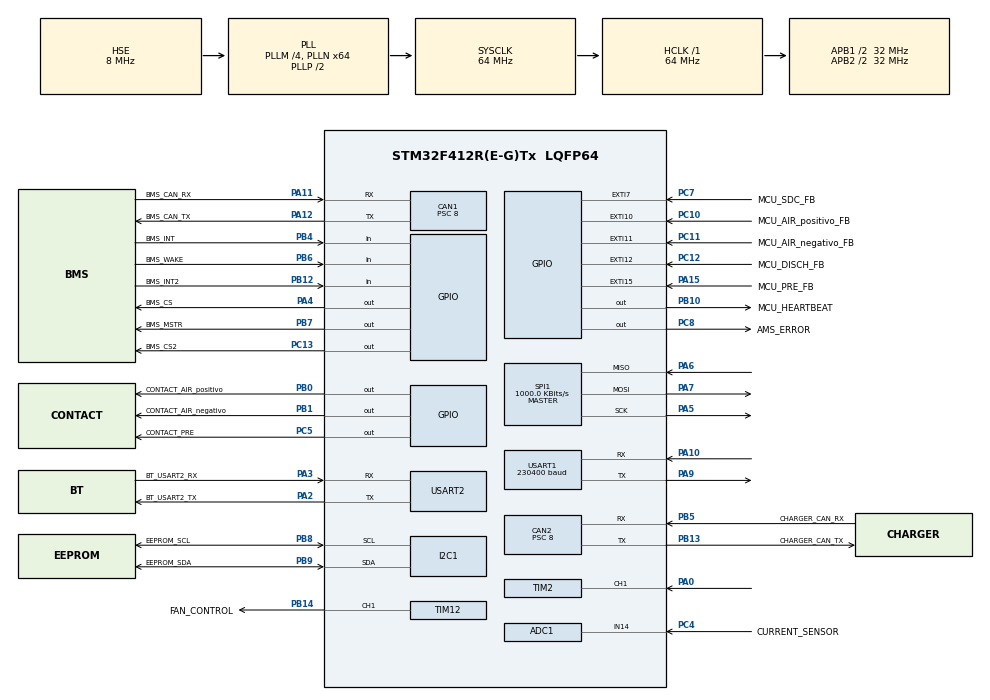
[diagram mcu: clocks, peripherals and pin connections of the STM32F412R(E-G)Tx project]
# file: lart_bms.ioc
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ADC1.Channel-1\#ChannelRegularConversion=ADC_CHANNEL_TEMPSENSOR
ADC1.Channel-2\#ChannelRegularConversion=ADC_CHANNEL_VREFINT
ADC1.Channel-4\#ChannelRegularConversion=ADC_CHANNEL_14
ADC1.ClockPrescaler=ADC_CLOCK_SYNC_PCLK_DIV8
ADC1.ContinuousConvMode=DISABLE
ADC1.DMAContinuousRequests=ENABLE
ADC1.EOCSelection=ADC_EOC_SEQ_CONV
ADC1.ExternalTrigConv=ADC_EXTERNALTRIGCONV_T3_TRGO
ADC1.InjNumberOfConversion=0
ADC1.NbrOfConversion=3
ADC1.NbrOfConversionFlag=1
ADC1.Rank-1\#ChannelRegularConversion=1
ADC1.Rank-2\#ChannelRegularConversion=2
ADC1.Rank-4\#ChannelRegularConversion=3
ADC1.Resolution=ADC_RESOLUTION_12B
ADC1.SamplingTime-1\#ChannelRegularConversion=ADC_SAMPLETIME_144CYCLES
ADC1.SamplingTime-2\#ChannelRegularConversion=ADC_SAMPLETIME_144CYCLES
ADC1.SamplingTime-4\#ChannelRegularConversion=ADC_SAMPLETIME_144CYCLES
ADC1.ScanConvMode=ENABLE
ADC1.master=1
CAN1.ABOM=ENABLE
CAN1.BS1=CAN_BS1_2TQ
CAN1.BS2=CAN_BS2_5TQ
CAN1.CalculateBaudRate=500000
CAN1.CalculateTimeBit=2000
CAN1.CalculateTimeQuantum=250.0
CAN1.Mode=CAN_MODE_NORMAL
CAN1.NART=ENABLE
CAN1.Prescaler=8
CAN1.TTCM=DISABLE
CAN2.ABOM=ENABLE
CAN2.BS1=CAN_BS1_2TQ
CAN2.BS2=CAN_BS2_5TQ
CAN2.CalculateBaudRate=500000
CAN2.CalculateTimeBit=2000
CAN2.CalculateTimeQuantum=250.0
CAN2.NART=ENABLE
CAN2.Prescaler=8
Dma.ADC1.2.Direction=DMA_PERIPH_TO_MEMORY
Dma.ADC1.2.FIFOMode=DMA_FIFOMODE_DISABLE
Dma.ADC1.2.Instance=DMA2_Stream0
Dma.ADC1.2.MemDataAlignment=DMA_MDATAALIGN_HALFWORD
Dma.ADC1.2.MemInc=DMA_MINC_ENABLE
Dma.ADC1.2.Mode=DMA_CIRCULAR
Dma.ADC1.2.PeriphDataAlignment=DMA_PDATAALIGN_HALFWORD
Dma.ADC1.2.PeriphInc=DMA_PINC_DISABLE
Dma.ADC1.2.Priority=DMA_PRIORITY_HIGH
Dma.Request0=USART1_TX
Dma.Request1=USART2_TX
Dma.Request2=ADC1
Dma.USART1_TX.0.Direction=DMA_MEMORY_TO_PERIPH
Dma.USART1_TX.0.FIFOMode=DMA_FIFOMODE_DISABLE
Dma.USART1_TX.0.Instance=DMA2_Stream7
Dma.USART1_TX.0.MemDataAlignment=DMA_MDATAALIGN_BYTE
Dma.USART1_TX.0.MemInc=DMA_MINC_ENABLE
Dma.USART1_TX.0.Mode=DMA_NORMAL
Dma.USART1_TX.0.PeriphDataAlignment=DMA_PDATAALIGN_BYTE
Dma.USART1_TX.0.PeriphInc=DMA_PINC_DISABLE
Dma.USART1_TX.0.Priority=DMA_PRIORITY_LOW
Dma.USART2_TX.1.Direction=DMA_MEMORY_TO_PERIPH
Dma.USART2_TX.1.FIFOMode=DMA_FIFOMODE_DISABLE
Dma.USART2_TX.1.Instance=DMA1_Stream6
Dma.USART2_TX.1.MemDataAlignment=DMA_MDATAALIGN_BYTE
Dma.USART2_TX.1.MemInc=DMA_MINC_ENABLE
Dma.USART2_TX.1.Mode=DMA_NORMAL
Dma.USART2_TX.1.PeriphDataAlignment=DMA_PDATAALIGN_BYTE
Dma.USART2_TX.1.PeriphInc=DMA_PINC_DISABLE
Dma.USART2_TX.1.Priority=DMA_PRIORITY_LOW
I2C1.I2C_Mode=I2C_Fast
Mcu.Family=STM32F4
Mcu.Name=STM32F412R(E-G)Tx
Mcu.Package=LQFP64
NVIC.ADC_IRQn=true\:0\:0\:false\:false\:true\:true\:true\:true
NVIC.CAN1_RX0_IRQn=true\:0\:0\:false\:false\:true\:true\:true\:true
NVIC.CAN2_RX0_IRQn=true\:0\:0\:false\:false\:true\:true\:true\:true
NVIC.DMA1_Stream6_IRQn=true\:0\:0\:false\:false\:true\:false\:true\:true
NVIC.DMA2_Stream0_IRQn=true\:0\:0\:false\:false\:true\:false\:true\:true
NVIC.DMA2_Stream7_IRQn=true\:0\:0\:false\:false\:true\:false\:true\:true
NVIC.EXTI15_10_IRQn=true\:0\:0\:false\:false\:true\:true\:true\:true
NVIC.PriorityGroup=NVIC_PRIORITYGROUP_4
NVIC.TIM2_IRQn=true\:0\:0\:false\:false\:true\:true\:true\:true
NVIC.TIM6_IRQn=true\:5\:0\:false\:false\:true\:true\:true\:true
NVIC.USART1_IRQn=true\:0\:0\:false\:false\:true\:true\:true\:true
NVIC.USART2_IRQn=true\:0\:0\:false\:false\:true\:true\:true\:true
PA0.Signal=S_TIM2_CH1_ETR
PA10.Mode=Asynchronous
PA10.Signal=USART1_RX
PA11.GPIO_Label=BMS_CAN_RX
PA11.GPIO_PuPd=GPIO_PULLUP
PA11.Mode=CAN_Activate
PA11.Signal=CAN1_RX
PA12.GPIO_Label=BMS_CAN_TX
PA12.Mode=CAN_Activate
PA12.Signal=CAN1_TX
PA13.Signal=SYS_JTMS-SWDIO
PA14.Signal=SYS_JTCK-SWCLK
PA15.GPIO_Label=MCU_PRE_FB
PA15.GPIO_ModeDefaultEXTI=GPIO_MODE_IT_RISING_FALLING
PA15.Signal=GPXTI15
PA2.GPIO_Label=BT_USART2_TX
PA2.Mode=Asynchronous
PA2.Signal=USART2_TX
PA3.GPIO_Label=BT_USART2_RX
PA3.Mode=Asynchronous
PA3.Signal=USART2_RX
PA4.GPIO_Label=BMS_CS
PA4.GPIO_Speed=GPIO_SPEED_FREQ_VERY_HIGH
PA4.Signal=GPIO_Output
PA5.Mode=Full_Duplex_Master
PA5.Signal=SPI1_SCK
PA6.Mode=Full_Duplex_Master
PA6.Signal=SPI1_MISO
PA7.Mode=Full_Duplex_Master
PA7.Signal=SPI1_MOSI
PA9.Mode=Asynchronous
PA9.Signal=USART1_TX
PB0.GPIO_Label=CONTACT_AIR_positivo
PB0.GPIO_PuPd=GPIO_PULLUP
PB0.PinState=GPIO_PIN_SET
PB0.Signal=GPIO_Output
PB1.GPIO_Label=CONTACT_AIR_negativo
PB1.GPIO_PuPd=GPIO_PULLUP
PB1.PinState=GPIO_PIN_SET
PB1.Signal=GPIO_Output
PB10.GPIO_Label=MCU_HEARTBEAT
PB10.Signal=GPIO_Output
PB12.GPIO_Label=BMS_INT2
PB12.Signal=GPIO_Input
PB13.GPIO_Label=CHARGER_CAN_TX
PB13.Mode=CAN_Activate
PB13.Signal=CAN2_TX
PB14.GPIO_Label=FAN_CONTROL
PB14.Signal=S_TIM12_CH1
PB4.GPIO_Label=BMS_INT
PB4.Signal=GPIO_Input
PB5.GPIO_Label=CHARGER_CAN_RX
PB5.Mode=CAN_Activate
PB5.Signal=CAN2_RX
PB6.GPIO_Label=BMS_WAKE
PB6.Signal=GPIO_Input
PB7.GPIO_Label=BMS_MSTR
PB7.Signal=GPIO_Output
PB8.GPIO_Label=EEPROM_SCL
PB8.Mode=I2C
PB8.Signal=I2C1_SCL
PB9.GPIO_Label=EEPROM_SDA
PB9.Mode=I2C
PB9.Signal=I2C1_SDA
PC10.GPIO_Label=MCU_AIR_positivo_FB
PC10.GPIO_ModeDefaultEXTI=GPIO_MODE_IT_RISING_FALLING
PC10.Signal=GPXTI10
PC11.GPIO_Label=MCU_AIR_negativo_FB
PC11.GPIO_ModeDefaultEXTI=GPIO_MODE_IT_RISING_FALLING
PC11.Signal=GPXTI11
PC12.GPIO_Label=MCU_DISCH_FB
PC12.GPIO_ModeDefaultEXTI=GPIO_MODE_IT_RISING_FALLING
PC12.Signal=GPXTI12
PC13.GPIO_Label=BMS_CS2
PC13.Signal=GPIO_Output
PC14-OSC32_IN.Signal=RCC_OSC32_IN
PC15-OSC32_OUT.Signal=RCC_OSC32_OUT
PC4.GPIO_Label=CURRENT_SENSOR
PC4.Signal=SharedAnalog_PC4
PC5.GPIO_Label=CONTACT_PRE
PC5.GPIO_PuPd=GPIO_PULLUP
PC5.PinState=GPIO_PIN_SET
PC5.Signal=GPIO_Output
PC7.GPIO_Label=MCU_SDC_FB
PC7.Signal=GPXTI7
PC8.GPIO_Label=AMS_ERROR
PC8.PinState=GPIO_PIN_SET
PC8.Signal=GPIO_Output
PH0\ -\ OSC_IN.Mode=HSE-External-Oscillator
PH0\ -\ OSC_IN.Signal=RCC_OSC_IN
PH1\ -\ OSC_OUT.Mode=HSE-External-Oscillator
PH1\ -\ OSC_OUT.Signal=RCC_OSC_OUT
ProjectManager.HeapSize=0x200
ProjectManager.StackSize=0x400
ProjectManager.TargetToolchain=STM32CubeIDE
RCC.AHBFreq_Value=64000000
RCC.APB1CLKDivider=RCC_HCLK_DIV2
RCC.APB1Freq_Value=32000000
RCC.APB1TimFreq_Value=64000000
RCC.APB2CLKDivider=RCC_HCLK_DIV2
RCC.APB2Freq_Value=32000000
RCC.APB2TimFreq_Value=64000000
RCC.CodegenConfigPeriph=true
RCC.CortexFreq_Value=64000000
RCC.HCLKFreq_Value=64000000
RCC.HSE_VALUE=8000000
RCC.LSE_Drive_CapabilityArg=+LSE_Drive_Capability
RCC.PLLI2SM=2
RCC.PLLI2SN=64
RCC.PLLI2SQ=12
RCC.PLLM=4
RCC.PLLN=64
RCC.PLLSourceVirtual=RCC_PLLSOURCE_HSE
RCC.SYSCLKFreq_VALUE=64000000
RCC.SYSCLKSource=RCC_SYSCLKSOURCE_PLLCLK
RCC.USBCLockSelection=RCC_CLK48CLKSOURCE_PLLI2SQ
RCC.USBFreq_Value=21333333.333333332
RCC.VCOOutputFreq_Value=128000000
SH.S_TIM12_CH1.0=TIM12_CH1,PWM Generation1 CH1
SH.S_TIM2_CH1_ETR.0=TIM2_CH1,Input_Capture1_from_TI1
SH.SharedAnalog_PC4.0=GPIO_Analog
SH.SharedAnalog_PC4.1=ADC1_IN14,IN14
SPI1.BaudRatePrescaler=SPI_BAUDRATEPRESCALER_32
SPI1.CLKPhase=SPI_PHASE_1EDGE
SPI1.CLKPolarity=SPI_POLARITY_LOW
SPI1.CalculateBaudRate=1000.0 KBits/s
SPI1.Direction=SPI_DIRECTION_2LINES
SPI1.Mode=SPI_MODE_MASTER
SPI1.VirtualType=VM_MASTER
TIM12.Channel-PWM\ Generation1\ CH1=TIM_CHANNEL_1
TIM12.Channel-PWM\ Generation2\ CH2=TIM_CHANNEL_2
TIM12.OCPolarity_1=TIM_OCPOLARITY_LOW
TIM2.Channel-Input_Capture1_from_TI1=TIM_CHANNEL_1
TIM2.Period=0xffffffff
TIM2.Prescaler=0
TIM3.AutoReloadPreload=TIM_AUTORELOAD_PRELOAD_ENABLE
TIM3.Period=65535
TIM3.TIM_MasterOutputTrigger=TIM_TRGO_UPDATE
TIM5.Period=0xffffffff
TIM5.Prescaler=64-1
TIM6.AutoReloadPreload=TIM_AUTORELOAD_PRELOAD_ENABLE
TIM6.Period=200-1
TIM6.Prescaler=64000-1
USART1.BaudRate=230400
USART1.VirtualMode=VM_ASYNC
USART2.VirtualMode=VM_ASYNC
VP_ADC1_TempSens_Input.Mode=IN-TempSens
VP_ADC1_Vref_Input.Mode=IN-Vrefint
VP_TIM2_VS_ClockSourceINT.Mode=Internal
VP_TIM3_VS_ClockSourceINT.Mode=Internal
VP_TIM5_VS_ClockSourceINT.Mode=Internal
VP_TIM6_VS_ClockSourceINT.Mode=Enable_Timer
VP_WWDG_VS_WWDG.Mode=WWDG_Activate
WWDG.Counter=127
WWDG.Prescaler=WWDG_PRESCALER_8
WWDG.Window=127
board=custom

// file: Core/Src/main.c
/* USER CODE BEGIN Header */
/**
 ******************************************************************************
 * @file           : main.c
 * @brief          : Main program body
 ******************************************************************************
 * @attention
 *
 * Copyright (c) 2025 STMicroelectronics.
 * All rights reserved.
 *
 * This software is licensed under terms that can be found in the LICENSE file
 * in the root directory of this software component.
 * If no LICENSE file comes with this software, it is provided AS-IS.
 *
 ******************************************************************************
 */
/* USER CODE END Header */
#include "main.h"

/* USER CODE BEGIN Includes */
#include "brain.h"
#include "boot_ctrl.h"

/* USER CODE END Includes */

ADC_HandleTypeDef hadc1;
DMA_HandleTypeDef hdma_adc1;

CAN_HandleTypeDef hcan1;
CAN_HandleTypeDef hcan2;

I2C_HandleTypeDef hi2c1;

SPI_HandleTypeDef hspi1;

TIM_HandleTypeDef htim2;
TIM_HandleTypeDef htim3;
TIM_HandleTypeDef htim5;
TIM_HandleTypeDef htim6;
TIM_HandleTypeDef htim12;

UART_HandleTypeDef huart1;
UART_HandleTypeDef huart2;
DMA_HandleTypeDef hdma_usart1_tx;
DMA_HandleTypeDef hdma_usart2_tx;

WWDG_HandleTypeDef hwwdg;

/* USER CODE BEGIN PV */
uint32_t watchdog_flag = 0;
/* USER CODE END PV */

void SystemClock_Config(void);
static void MX_GPIO_Init(void);
static void MX_DMA_Init(void);
static void MX_USART1_UART_Init(void);
static void MX_SPI1_Init(void);
static void MX_TIM2_Init(void);
static void MX_TIM5_Init(void);
static void MX_I2C1_Init(void);
static void MX_ADC1_Init(void);
static void MX_CAN2_Init(void);
static void MX_CAN1_Init(void);
static void MX_USART2_UART_Init(void);
static void MX_TIM12_Init(void);
static void MX_TIM3_Init(void);
static void MX_WWDG_Init(void);
static void MX_TIM6_Init(void);

/* USER CODE BEGIN 0 */
extern const uint32_t g_pfnVectors[];   // startup_stm32f412retx.s: 0x08010200 com o bootloader
/* USER CODE END 0 */

int main(void)
{

  /* USER CODE BEGIN 1 */
	/* a aplicacao arranca do bootloader CAN (0x08000000) e vive em 0x08010200:
	 * as interrupcoes usam a tabela de vetores daqui (o bootloader ja a pos,
	 * isto cobre um arranque direto pelo debugger) */
	SCB->VTOR = (uint32_t) g_pfnVectors;
	__DSB();
  /* USER CODE END 1 */

  /* MCU Configuration--------------------------------------------------------*/

  /* Reset of all peripherals, Initializes the Flash interface and the Systick. */
  HAL_Init();

  /* Configure the system clock */
  SystemClock_Config();

  /* USER CODE BEGIN SysInit */
	/* GAURDA O ESTADO ANTES DE DAR RESET E ANTES DE INICIALIZARO WATCHDOG
	 * (o bootloader guarda o RCC->CSR na RAM e limpa-o: vem de la) */
	watchdog_flag = BootCtrl_ResetFlags(RCC->CSR); //O RCC->CSR é um registo de 32 bits sem sinal, com int o bit 31 seria interpretado como sinal negativo
	__HAL_RCC_CLEAR_RESET_FLAGS();

	//matar o watchdog caso esteja em debug mode (o IWDG e o do bootloader nas imagens em teste)
	if (CoreDebug->DHCSR & CoreDebug_DHCSR_C_DEBUGEN_Msk) {
		DBGMCU->APB1FZ |= DBGMCU_APB1_FZ_DBG_WWDG_STOP | DBGMCU_APB1_FZ_DBG_IWDG_STOP;
	}
  /* USER CODE END SysInit */

  /* Initialize all configured peripherals */
  MX_GPIO_Init();
  MX_DMA_Init();
  MX_USART1_UART_Init();
  MX_SPI1_Init();
  MX_TIM2_Init();
  MX_TIM5_Init();
  MX_I2C1_Init();
  MX_ADC1_Init();
  MX_CAN2_Init();
  MX_CAN1_Init();
  MX_USART2_UART_Init();
  MX_TIM12_Init();
  MX_TIM3_Init();
  MX_WWDG_Init();
  MX_TIM6_Init();
  /* USER CODE BEGIN 2 */

	//If watchdgot triggered - ams erro be sent
	if (watchdog_flag & RCC_CSR_WWDGRSTF) { //Bitwise stetment, wow another world
		//HAL_GPIO_WritePin(AMS_ERROR_GPIO_Port, AMS_ERROR_Pin, GPIO_PIN_SET);
	}

	HAL_WWDG_Refresh(&hwwdg);

	brain_start();

  /* USER CODE END 2 */

  /* Infinite loop */
  /* USER CODE BEGIN WHILE */

	while (1) {

		HAL_WWDG_Refresh(&hwwdg);

		brain_loop();

		HAL_WWDG_Refresh(&hwwdg);

    /* USER CODE END WHILE */

	}
}

void SystemClock_Config(void)
{
  RCC_OscInitTypeDef RCC_OscInitStruct = {0};
  RCC_ClkInitTypeDef RCC_ClkInitStruct = {0};

  /** Configure the main internal regulator output voltage
  */
  __HAL_RCC_PWR_CLK_ENABLE();
  __HAL_PWR_VOLTAGESCALING_CONFIG(PWR_REGULATOR_VOLTAGE_SCALE1);

  /** Initializes the RCC Oscillators according to the specified parameters
  * in the RCC_OscInitTypeDef structure.
  */
  RCC_OscInitStruct.OscillatorType = RCC_OSCILLATORTYPE_HSE;
  RCC_OscInitStruct.HSEState = RCC_HSE_ON;
  RCC_OscInitStruct.PLL.PLLState = RCC_PLL_ON;
  RCC_OscInitStruct.PLL.PLLSource = RCC_PLLSOURCE_HSE;
  RCC_OscInitStruct.PLL.PLLM = 4;
  RCC_OscInitStruct.PLL.PLLN = 64;
  RCC_OscInitStruct.PLL.PLLP = RCC_PLLP_DIV2;
  RCC_OscInitStruct.PLL.PLLQ = 2;
  RCC_OscInitStruct.PLL.PLLR = 2;
  if (HAL_RCC_OscConfig(&RCC_OscInitStruct) != HAL_OK)
  {
    Error_Handler();
  }

  /** Initializes the CPU, AHB and APB buses clocks
  */
  RCC_ClkInitStruct.ClockType = RCC_CLOCKTYPE_HCLK|RCC_CLOCKTYPE_SYSCLK
                              |RCC_CLOCKTYPE_PCLK1|RCC_CLOCKTYPE_PCLK2;
  RCC_ClkInitStruct.SYSCLKSource = RCC_SYSCLKSOURCE_PLLCLK;
  RCC_ClkInitStruct.AHBCLKDivider = RCC_SYSCLK_DIV1;
  RCC_ClkInitStruct.APB1CLKDivider = RCC_HCLK_DIV2;
  RCC_ClkInitStruct.APB2CLKDivider = RCC_HCLK_DIV2;

  if (HAL_RCC_ClockConfig(&RCC_ClkInitStruct, FLASH_LATENCY_1) != HAL_OK)
  {
    Error_Handler();
  }
}

static void MX_ADC1_Init(void)
{

  ADC_ChannelConfTypeDef sConfig = {0};

  /** Configure the global features of the ADC (Clock, Resolution, Data Alignment and number of conversion)
  */
  hadc1.Instance = ADC1;
  hadc1.Init.ClockPrescaler = ADC_CLOCK_SYNC_PCLK_DIV8;
  hadc1.Init.Resolution = ADC_RESOLUTION_12B;
  hadc1.Init.ScanConvMode = ENABLE;
  hadc1.Init.ContinuousConvMode = DISABLE;
  hadc1.Init.DiscontinuousConvMode = DISABLE;
  hadc1.Init.ExternalTrigConvEdge = ADC_EXTERNALTRIGCONVEDGE_RISING;
  hadc1.Init.ExternalTrigConv = ADC_EXTERNALTRIGCONV_T3_TRGO;
  hadc1.Init.DataAlign = ADC_DATAALIGN_RIGHT;
  hadc1.Init.NbrOfConversion = 3;
  hadc1.Init.DMAContinuousRequests = ENABLE;
  hadc1.Init.EOCSelection = ADC_EOC_SEQ_CONV;
  if (HAL_ADC_Init(&hadc1) != HAL_OK)
  {
    Error_Handler();
  }

  /** Configure for the selected ADC regular channel its corresponding rank in the sequencer and its sample time.
  */
  sConfig.Channel = ADC_CHANNEL_TEMPSENSOR;
  sConfig.Rank = 1;
  sConfig.SamplingTime = ADC_SAMPLETIME_144CYCLES;
  if (HAL_ADC_ConfigChannel(&hadc1, &sConfig) != HAL_OK)
  {
    Error_Handler();
  }

  /** Configure for the selected ADC regular channel its corresponding rank in the sequencer and its sample time.
  */
  sConfig.Channel = ADC_CHANNEL_VREFINT;
  sConfig.Rank = 2;
  if (HAL_ADC_ConfigChannel(&hadc1, &sConfig) != HAL_OK)
  {
    Error_Handler();
  }

  /** Configure for the selected ADC regular channel its corresponding rank in the sequencer and its sample time.
  */
  sConfig.Channel = ADC_CHANNEL_14;
  sConfig.Rank = 3;
  if (HAL_ADC_ConfigChannel(&hadc1, &sConfig) != HAL_OK)
  {
    Error_Handler();
  }

}

static void MX_CAN1_Init(void)
{

  hcan1.Instance = CAN1;
  hcan1.Init.Prescaler = 8;
  hcan1.Init.Mode = CAN_MODE_NORMAL;
  hcan1.Init.SyncJumpWidth = CAN_SJW_1TQ;
  hcan1.Init.TimeSeg1 = CAN_BS1_2TQ;
  hcan1.Init.TimeSeg2 = CAN_BS2_5TQ;
  hcan1.Init.TimeTriggeredMode = DISABLE;
  hcan1.Init.AutoBusOff = ENABLE;
  hcan1.Init.AutoWakeUp = DISABLE;
  hcan1.Init.AutoRetransmission = ENABLE;
  hcan1.Init.ReceiveFifoLocked = DISABLE;
  hcan1.Init.TransmitFifoPriority = DISABLE;
  if (HAL_CAN_Init(&hcan1) != HAL_OK)
  {
    Error_Handler();
  }
  /* USER CODE BEGIN CAN1_Init 2 */

	//IVT_CAN_Setup(&hcan1);
	/*// (Optional) TX complete / error callbacks
	 HAL_CAN_ActivateNotification(&hcan1,
	 CAN_IT_TX_MAILBOX_EMPTY | CAN_IT_ERROR | CAN_IT_BUSOFF);*/

	//HAL_StatusTypeDef st = HAL_CAN_Start(&hcan1);
	/*if (st != HAL_OK) {
	 //printfDma("CAN start failed: %ld\r\n", (long) st);
	 }*/

	/*if (HAL_CAN_Start(&hcan1) != HAL_OK)
	 {
	 Error_Handler();
	 }*/

  /* USER CODE END CAN1_Init 2 */

}

static void MX_CAN2_Init(void)
{

  hcan2.Instance = CAN2;
  hcan2.Init.Prescaler = 8;
  hcan2.Init.Mode = CAN_MODE_NORMAL;
  hcan2.Init.SyncJumpWidth = CAN_SJW_1TQ;
  hcan2.Init.TimeSeg1 = CAN_BS1_2TQ;
  hcan2.Init.TimeSeg2 = CAN_BS2_5TQ;
  hcan2.Init.TimeTriggeredMode = DISABLE;
  hcan2.Init.AutoBusOff = ENABLE;
  hcan2.Init.AutoWakeUp = DISABLE;
  hcan2.Init.AutoRetransmission = ENABLE;
  hcan2.Init.ReceiveFifoLocked = DISABLE;
  hcan2.Init.TransmitFifoPriority = DISABLE;
  if (HAL_CAN_Init(&hcan2) != HAL_OK)
  {
    Error_Handler();
  }

}

static void MX_I2C1_Init(void)
{

  hi2c1.Instance = I2C1;
  hi2c1.Init.ClockSpeed = 400000;
  hi2c1.Init.DutyCycle = I2C_DUTYCYCLE_2;
  hi2c1.Init.OwnAddress1 = 0;
  hi2c1.Init.AddressingMode = I2C_ADDRESSINGMODE_7BIT;
  hi2c1.Init.DualAddressMode = I2C_DUALADDRESS_DISABLE;
  hi2c1.Init.OwnAddress2 = 0;
  hi2c1.Init.GeneralCallMode = I2C_GENERALCALL_DISABLE;
  hi2c1.Init.NoStretchMode = I2C_NOSTRETCH_DISABLE;
  if (HAL_I2C_Init(&hi2c1) != HAL_OK)
  {
    Error_Handler();
  }

}

static void MX_SPI1_Init(void)
{

  /* SPI1 parameter configuration*/
  hspi1.Instance = SPI1;
  hspi1.Init.Mode = SPI_MODE_MASTER;
  hspi1.Init.Direction = SPI_DIRECTION_2LINES;
  hspi1.Init.DataSize = SPI_DATASIZE_8BIT;
  hspi1.Init.CLKPolarity = SPI_POLARITY_LOW;
  hspi1.Init.CLKPhase = SPI_PHASE_1EDGE;
  hspi1.Init.NSS = SPI_NSS_SOFT;
  hspi1.Init.BaudRatePrescaler = SPI_BAUDRATEPRESCALER_32;
  hspi1.Init.FirstBit = SPI_FIRSTBIT_MSB;
  hspi1.Init.TIMode = SPI_TIMODE_DISABLE;
  hspi1.Init.CRCCalculation = SPI_CRCCALCULATION_DISABLE;
  hspi1.Init.CRCPolynomial = 10;
  if (HAL_SPI_Init(&hspi1) != HAL_OK)
  {
    Error_Handler();
  }

}

static void MX_TIM2_Init(void)
{

  TIM_ClockConfigTypeDef sClockSourceConfig = {0};
  TIM_MasterConfigTypeDef sMasterConfig = {0};
  TIM_IC_InitTypeDef sConfigIC = {0};

  htim2.Instance = TIM2;
  htim2.Init.Prescaler = 0;
  htim2.Init.CounterMode = TIM_COUNTERMODE_UP;
  htim2.Init.Period = 0xffffffff;
  htim2.Init.ClockDivision = TIM_CLOCKDIVISION_DIV1;
  htim2.Init.AutoReloadPreload = TIM_AUTORELOAD_PRELOAD_DISABLE;
  if (HAL_TIM_Base_Init(&htim2) != HAL_OK)
  {
    Error_Handler();
  }
  sClockSourceConfig.ClockSource = TIM_CLOCKSOURCE_INTERNAL;
  if (HAL_TIM_ConfigClockSource(&htim2, &sClockSourceConfig) != HAL_OK)
  {
    Error_Handler();
  }
  if (HAL_TIM_IC_Init(&htim2) != HAL_OK)
  {
    Error_Handler();
  }
  sMasterConfig.MasterOutputTrigger = TIM_TRGO_RESET;
  sMasterConfig.MasterSlaveMode = TIM_MASTERSLAVEMODE_DISABLE;
  if (HAL_TIMEx_MasterConfigSynchronization(&htim2, &sMasterConfig) != HAL_OK)
  {
    Error_Handler();
  }
  sConfigIC.ICPolarity = TIM_INPUTCHANNELPOLARITY_RISING;
  sConfigIC.ICSelection = TIM_ICSELECTION_DIRECTTI;
  sConfigIC.ICPrescaler = TIM_ICPSC_DIV1;
  sConfigIC.ICFilter = 0;
  if (HAL_TIM_IC_ConfigChannel(&htim2, &sConfigIC, TIM_CHANNEL_1) != HAL_OK)
  {
    Error_Handler();
  }

}

static void MX_TIM3_Init(void)
{

  TIM_ClockConfigTypeDef sClockSourceConfig = {0};
  TIM_MasterConfigTypeDef sMasterConfig = {0};

  htim3.Instance = TIM3;
  htim3.Init.Prescaler = 0;
  htim3.Init.CounterMode = TIM_COUNTERMODE_UP;
  htim3.Init.Period = 65535;
  htim3.Init.ClockDivision = TIM_CLOCKDIVISION_DIV1;
  htim3.Init.AutoReloadPreload = TIM_AUTORELOAD_PRELOAD_ENABLE;
  if (HAL_TIM_Base_Init(&htim3) != HAL_OK)
  {
    Error_Handler();
  }
  sClockSourceConfig.ClockSource = TIM_CLOCKSOURCE_INTERNAL;
  if (HAL_TIM_ConfigClockSource(&htim3, &sClockSourceConfig) != HAL_OK)
  {
    Error_Handler();
  }
  sMasterConfig.MasterOutputTrigger = TIM_TRGO_UPDATE;
  sMasterConfig.MasterSlaveMode = TIM_MASTERSLAVEMODE_DISABLE;
  if (HAL_TIMEx_MasterConfigSynchronization(&htim3, &sMasterConfig) != HAL_OK)
  {
    Error_Handler();
  }

}

static void MX_TIM5_Init(void)
{

  TIM_ClockConfigTypeDef sClockSourceConfig = {0};
  TIM_MasterConfigTypeDef sMasterConfig = {0};

  htim5.Instance = TIM5;
  htim5.Init.Prescaler = 64-1;
  htim5.Init.CounterMode = TIM_COUNTERMODE_UP;
  htim5.Init.Period = 0xffffffff;
  htim5.Init.ClockDivision = TIM_CLOCKDIVISION_DIV1;
  htim5.Init.AutoReloadPreload = TIM_AUTORELOAD_PRELOAD_DISABLE;
  if (HAL_TIM_Base_Init(&htim5) != HAL_OK)
  {
    Error_Handler();
  }
  sClockSourceConfig.ClockSource = TIM_CLOCKSOURCE_INTERNAL;
  if (HAL_TIM_ConfigClockSource(&htim5, &sClockSourceConfig) != HAL_OK)
  {
    Error_Handler();
  }
  sMasterConfig.MasterOutputTrigger = TIM_TRGO_RESET;
  sMasterConfig.MasterSlaveMode = TIM_MASTERSLAVEMODE_DISABLE;
  if (HAL_TIMEx_MasterConfigSynchronization(&htim5, &sMasterConfig) != HAL_OK)
  {
    Error_Handler();
  }

}

static void MX_TIM6_Init(void)
{

  TIM_MasterConfigTypeDef sMasterConfig = {0};

  htim6.Instance = TIM6;
  htim6.Init.Prescaler = 64000-1;
  htim6.Init.CounterMode = TIM_COUNTERMODE_UP;
  htim6.Init.Period = 200-1;
  htim6.Init.AutoReloadPreload = TIM_AUTORELOAD_PRELOAD_ENABLE;
  if (HAL_TIM_Base_Init(&htim6) != HAL_OK)
  {
    Error_Handler();
  }
  sMasterConfig.MasterOutputTrigger = TIM_TRGO_RESET;
  sMasterConfig.MasterSlaveMode = TIM_MASTERSLAVEMODE_DISABLE;
  if (HAL_TIMEx_MasterConfigSynchronization(&htim6, &sMasterConfig) != HAL_OK)
  {
    Error_Handler();
  }

}

static void MX_TIM12_Init(void)
{

  TIM_OC_InitTypeDef sConfigOC = {0};

  htim12.Instance = TIM12;
  htim12.Init.Prescaler = 0;
  htim12.Init.CounterMode = TIM_COUNTERMODE_UP;
  htim12.Init.Period = 65535;
  htim12.Init.ClockDivision = TIM_CLOCKDIVISION_DIV1;
  htim12.Init.AutoReloadPreload = TIM_AUTORELOAD_PRELOAD_DISABLE;
  if (HAL_TIM_PWM_Init(&htim12) != HAL_OK)
  {
    Error_Handler();
  }
  sConfigOC.OCMode = TIM_OCMODE_PWM1;
  sConfigOC.Pulse = 0;
  sConfigOC.OCPolarity = TIM_OCPOLARITY_LOW;
  sConfigOC.OCFastMode = TIM_OCFAST_DISABLE;
  if (HAL_TIM_PWM_ConfigChannel(&htim12, &sConfigOC, TIM_CHANNEL_1) != HAL_OK)
  {
    Error_Handler();
  }
  HAL_TIM_MspPostInit(&htim12);

}

static void MX_USART1_UART_Init(void)
{

  huart1.Instance = USART1;
  huart1.Init.BaudRate = 230400;
  huart1.Init.WordLength = UART_WORDLENGTH_8B;
  huart1.Init.StopBits = UART_STOPBITS_1;
  huart1.Init.Parity = UART_PARITY_NONE;
  huart1.Init.Mode = UART_MODE_TX_RX;
  huart1.Init.HwFlowCtl = UART_HWCONTROL_NONE;
  huart1.Init.OverSampling = UART_OVERSAMPLING_16;
  if (HAL_UART_Init(&huart1) != HAL_OK)
  {
    Error_Handler();
  }

}

static void MX_USART2_UART_Init(void)
{

  huart2.Instance = USART2;
  huart2.Init.BaudRate = 115200;
  huart2.Init.WordLength = UART_WORDLENGTH_8B;
  huart2.Init.StopBits = UART_STOPBITS_1;
  huart2.Init.Parity = UART_PARITY_NONE;
  huart2.Init.Mode = UART_MODE_TX_RX;
  huart2.Init.HwFlowCtl = UART_HWCONTROL_NONE;
  huart2.Init.OverSampling = UART_OVERSAMPLING_16;
  if (HAL_UART_Init(&huart2) != HAL_OK)
  {
    Error_Handler();
  }

}

static void MX_WWDG_Init(void)
{

  hwwdg.Instance = WWDG;
  hwwdg.Init.Prescaler = WWDG_PRESCALER_8;
  hwwdg.Init.Window = 127;
  hwwdg.Init.Counter = 127;
  hwwdg.Init.EWIMode = WWDG_EWI_DISABLE;
  if (HAL_WWDG_Init(&hwwdg) != HAL_OK)
  {
    Error_Handler();
  }

}

static void MX_DMA_Init(void)
{

  /* DMA controller clock enable */
  __HAL_RCC_DMA2_CLK_ENABLE();
  __HAL_RCC_DMA1_CLK_ENABLE();

  /* DMA interrupt init */
  /* DMA1_Stream6_IRQn interrupt configuration */
  HAL_NVIC_SetPriority(DMA1_Stream6_IRQn, 0, 0);
  HAL_NVIC_EnableIRQ(DMA1_Stream6_IRQn);
  /* DMA2_Stream0_IRQn interrupt configuration */
  HAL_NVIC_SetPriority(DMA2_Stream0_IRQn, 0, 0);
  HAL_NVIC_EnableIRQ(DMA2_Stream0_IRQn);
  /* DMA2_Stream7_IRQn interrupt configuration */
  HAL_NVIC_SetPriority(DMA2_Stream7_IRQn, 0, 0);
  HAL_NVIC_EnableIRQ(DMA2_Stream7_IRQn);

}

static void MX_GPIO_Init(void)
{
  GPIO_InitTypeDef GPIO_InitStruct = {0};

  /* GPIO Ports Clock Enable */
  __HAL_RCC_GPIOC_CLK_ENABLE();
  __HAL_RCC_GPIOH_CLK_ENABLE();
  __HAL_RCC_GPIOA_CLK_ENABLE();
  __HAL_RCC_GPIOB_CLK_ENABLE();

  /*Configure GPIO pin Output Level */
  HAL_GPIO_WritePin(BMS_CS2_GPIO_Port, BMS_CS2_Pin, GPIO_PIN_RESET);

  /*Configure GPIO pin Output Level */
  HAL_GPIO_WritePin(AMS_ERROR_GPIO_Port, AMS_ERROR_Pin, GPIO_PIN_SET);

  /*Configure GPIO pin Output Level */
  HAL_GPIO_WritePin(BMS_CS_GPIO_Port, BMS_CS_Pin, GPIO_PIN_RESET);

  /*Configure GPIO pin Output Level */
  HAL_GPIO_WritePin(CONTACT_PRE_GPIO_Port, CONTACT_PRE_Pin, GPIO_PIN_SET);

  /*Configure GPIO pin Output Level */
  HAL_GPIO_WritePin(GPIOB, CONTACT_AIR_positivo_Pin|CONTACT_AIR_negativo_Pin, GPIO_PIN_SET);

  /*Configure GPIO pin Output Level */
  HAL_GPIO_WritePin(GPIOB, MCU_HEARTBEAT_Pin|BMS_MSTR_Pin, GPIO_PIN_RESET);

  /*Configure GPIO pins : BMS_CS2_Pin AMS_ERROR_Pin */
  GPIO_InitStruct.Pin = BMS_CS2_Pin|AMS_ERROR_Pin;
  GPIO_InitStruct.Mode = GPIO_MODE_OUTPUT_PP;
  GPIO_InitStruct.Pull = GPIO_NOPULL;
  GPIO_InitStruct.Speed = GPIO_SPEED_FREQ_LOW;
  HAL_GPIO_Init(GPIOC, &GPIO_InitStruct);

  /*Configure GPIO pin : BMS_CS_Pin */
  GPIO_InitStruct.Pin = BMS_CS_Pin;
  GPIO_InitStruct.Mode = GPIO_MODE_OUTPUT_PP;
  GPIO_InitStruct.Pull = GPIO_NOPULL;
  GPIO_InitStruct.Speed = GPIO_SPEED_FREQ_VERY_HIGH;
  HAL_GPIO_Init(BMS_CS_GPIO_Port, &GPIO_InitStruct);

  /*Configure GPIO pin : CONTACT_PRE_Pin */
  GPIO_InitStruct.Pin = CONTACT_PRE_Pin;
  GPIO_InitStruct.Mode = GPIO_MODE_OUTPUT_PP;
  GPIO_InitStruct.Pull = GPIO_PULLUP;
  GPIO_InitStruct.Speed = GPIO_SPEED_FREQ_LOW;
  HAL_GPIO_Init(CONTACT_PRE_GPIO_Port, &GPIO_InitStruct);

  /*Configure GPIO pins : CONTACT_AIR_positivo_Pin CONTACT_AIR_negativo_Pin */
  GPIO_InitStruct.Pin = CONTACT_AIR_positivo_Pin|CONTACT_AIR_negativo_Pin;
  GPIO_InitStruct.Mode = GPIO_MODE_OUTPUT_PP;
  GPIO_InitStruct.Pull = GPIO_PULLUP;
  GPIO_InitStruct.Speed = GPIO_SPEED_FREQ_LOW;
  HAL_GPIO_Init(GPIOB, &GPIO_InitStruct);

  /*Configure GPIO pins : MCU_HEARTBEAT_Pin BMS_MSTR_Pin */
  GPIO_InitStruct.Pin = MCU_HEARTBEAT_Pin|BMS_MSTR_Pin;
  GPIO_InitStruct.Mode = GPIO_MODE_OUTPUT_PP;
  GPIO_InitStruct.Pull = GPIO_NOPULL;
  GPIO_InitStruct.Speed = GPIO_SPEED_FREQ_LOW;
  HAL_GPIO_Init(GPIOB, &GPIO_InitStruct);

  /*Configure GPIO pins : BMS_INT2_Pin BMS_INT_Pin BMS_WAKE_Pin */
  GPIO_InitStruct.Pin = BMS_INT2_Pin|BMS_INT_Pin|BMS_WAKE_Pin;
  GPIO_InitStruct.Mode = GPIO_MODE_INPUT;
  GPIO_InitStruct.Pull = GPIO_NOPULL;
  HAL_GPIO_Init(GPIOB, &GPIO_InitStruct);

  /*Configure GPIO pin : MCU_SDC_FB_Pin */
  GPIO_InitStruct.Pin = MCU_SDC_FB_Pin;
  GPIO_InitStruct.Mode = GPIO_MODE_IT_RISING;
  GPIO_InitStruct.Pull = GPIO_NOPULL;
  HAL_GPIO_Init(MCU_SDC_FB_GPIO_Port, &GPIO_InitStruct);

  /*Configure GPIO pin : MCU_PRE_FB_Pin */
  GPIO_InitStruct.Pin = MCU_PRE_FB_Pin;
  GPIO_InitStruct.Mode = GPIO_MODE_IT_RISING_FALLING;
  GPIO_InitStruct.Pull = GPIO_NOPULL;
  HAL_GPIO_Init(MCU_PRE_FB_GPIO_Port, &GPIO_InitStruct);

  /*Configure GPIO pins : MCU_AIR_positivo_FB_Pin MCU_AIR_negativo_FB_Pin MCU_DISCH_FB_Pin */
  GPIO_InitStruct.Pin = MCU_AIR_positivo_FB_Pin|MCU_AIR_negativo_FB_Pin|MCU_DISCH_FB_Pin;
  GPIO_InitStruct.Mode = GPIO_MODE_IT_RISING_FALLING;
  GPIO_InitStruct.Pull = GPIO_NOPULL;
  HAL_GPIO_Init(GPIOC, &GPIO_InitStruct);

  /* EXTI interrupt init*/
  HAL_NVIC_SetPriority(EXTI15_10_IRQn, 0, 0);
  HAL_NVIC_EnableIRQ(EXTI15_10_IRQn);

}

/* USER CODE BEGIN 4 */

/*PUTCHAR_PROTOTYPE {
 if (ch == '\n') {
 uint8_t cr = '\r';
 HAL_UART_Transmit(&huart1, &cr, 1, HAL_MAX_DELAY);
 }
 HAL_UART_Transmit(&huart1, (uint8_t*) &ch, 1, HAL_MAX_DELAY);
 return ch;
 }*/

/* USER CODE END 4 */

void Error_Handler(void)
{
  /* USER CODE BEGIN Error_Handler_Debug */
	/* User can add his own implementation to report the HAL error return state */
	HAL_GPIO_WritePin(AMS_ERROR_GPIO_Port, AMS_ERROR_Pin, GPIO_PIN_SET);
	__disable_irq();
	while (1) {
	}
  /* USER CODE END Error_Handler_Debug */
}
